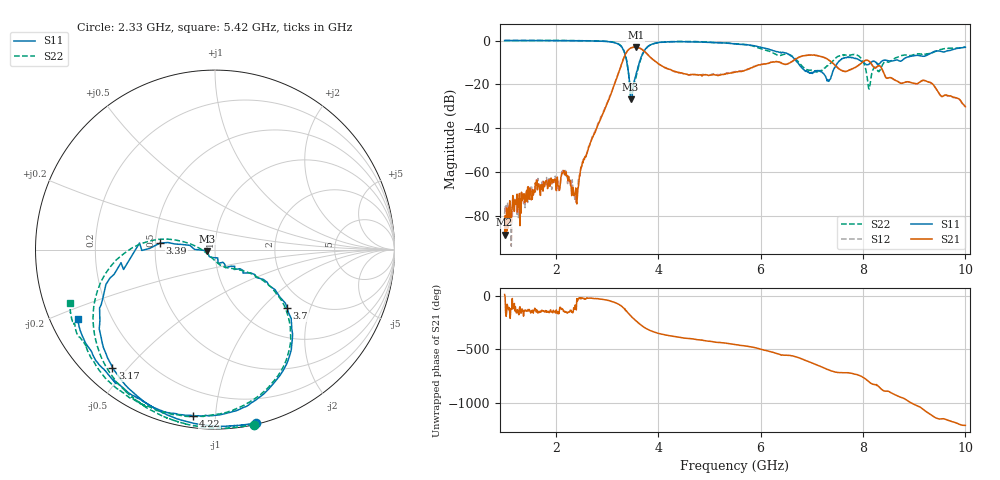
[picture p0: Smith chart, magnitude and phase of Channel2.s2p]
!Agilent Technologies,N5227A,US51270477,A.10.00.00
!File generated by LCAF-GAM-UPV software
!josevmart@iteam.upv.es
!S2P File: Measurements: S11, S21, S12, S22:
# Hz S  dB  R 50
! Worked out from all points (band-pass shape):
!   901 points, 1 GHz to 10 GHz, reference 50 ohm
!   highest |S21| = -3.01 dB at 3.56 GHz (marker M1); lowest = -88.4 dB at 1 GHz (marker M2)
!   |S21| within 3 dB of the highest: 3.36 GHz to 3.778 GHz (418 MHz wide, 11.7 % of centre)
!   lowest |S11| = -26.8 dB at 3.46 GHz (marker M3), VSWR 1.10, Z = 45.7 - j0.651 ohm
!   |S11| at or under -10 dB: 3.389 GHz to 3.63 GHz (241.3 MHz wide, 6.87 % of centre); 6.722 GHz to 7.512 GHz (790.4 MHz wide, 11.1 % of centre); 8.004 GHz to 8.156 GHz (151.4 MHz wide, 1.87 % of centre)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
!   |S22| runs from -26.9 to 0.0 dB; largest |S21 - S12| = 0.074
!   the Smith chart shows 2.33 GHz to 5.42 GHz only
!   S11 on the Smith chart (normalised r, x): 2.33 GHz: 0.01, -1.27; 3.17 GHz: 0.08, -0.45; 3.39 GHz: 0.53, +0.04; 3.7 GHz: 1.58, -1.40; 4.22 GHz: 0.06, -0.87; 5.42 GHz: 0.08, -0.24
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1e9  -0.00 -31.5  -88.44 16.1  -78.90 52.3  0.01 -31.7
2.16e9  -0.05 -70.5  -59.19 -140.9  -60.34 -143.8  0.01 -71.0
2.33e9  -0.07 -76.6  -66.84 -155.6  -65.81 -153.0  -0.01 -77.4
2.39e9  -0.08 -78.7  -67.10 -95.5  -71.00 -76.8  -0.02 -79.7
2.5e9  -0.11 -82.8  -57.78 -17.2  -57.28 -14.2  -0.03 -84.8
3.17e9  -1.19 -131.0  -18.14 -63.2  -18.30 -61.9  -0.99 -132.8
3.39e9  -10.20 173.3  -4.96 -145.7  -5.02 -143.2  -9.89 169.7
3.46e9  -26.83 -171.0  -3.46 176.4  -3.44 179.4  -25.02 -165.4
3.56e9  -16.25 -46.0  -3.01 132.3  -2.98 133.0  -17.17 -48.9
3.7e9  -5.73 -38.9  -4.39 75.9  -4.26 77.4  -6.08 -39.0
4e9  -0.93 -80.9  -10.48 11.1  -10.52 11.8  -0.98 -82.1
4.22e9  -0.60 -97.6  -13.10 -11.2  -13.28 -10.6  -0.52 -98.9
5.42e9  -1.35 -153.3  -14.82 -88.5  -14.50 -91.0  -1.31 -159.8
5.5e9  -1.56 -156.9  -14.45 -94.1  -14.21 -95.9  -1.45 -163.1
6.55e9  -6.25 142.9  -10.37 164.1  -10.43 164.8  -6.32 148.2
7e9  -14.57 153.9  -6.62 93.1  -6.61 94.0  -13.50 152.9
7.33e9  -18.58 172.5  -8.86 26.5  -8.89 28.2  -10.94 172.5
7.85e9  -8.08 121.4  -12.29 -13.4  -12.21 -13.7  -6.44 98.9
8.09e9  -11.01 101.9  -8.99 -74.4  -9.04 -75.0  -18.29 44.3
8.5e9  -9.24 63.1  -17.04 -174.5  -17.01 -175.7  -9.88 77.6
9.5e9  -4.83 -20.8  -24.57 -75.2  -24.60 -75.9  -4.16 -16.6
1e10  -3.09 -51.3  -30.16 -135.0  -30.13 -135.5  -2.89 -61.3
